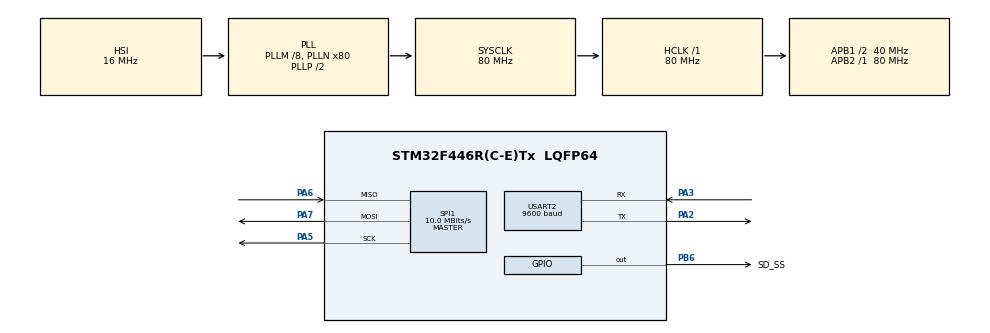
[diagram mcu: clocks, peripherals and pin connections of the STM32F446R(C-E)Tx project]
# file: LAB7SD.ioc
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FATFS._MAX_SS=4096
FATFS._USE_LFN=1
Mcu.Family=STM32F4
Mcu.Name=STM32F446R(C-E)Tx
Mcu.Package=LQFP64
NVIC.PriorityGroup=NVIC_PRIORITYGROUP_4
NVIC.USART2_IRQn=true\:0\:0\:false\:false\:true\:true\:true\:true
PA13.Mode=Serial_Wire
PA13.Signal=SYS_JTMS-SWDIO
PA14.Mode=Serial_Wire
PA14.Signal=SYS_JTCK-SWCLK
PA2.Mode=Asynchronous
PA2.Signal=USART2_TX
PA3.Mode=Asynchronous
PA3.Signal=USART2_RX
PA5.Mode=Full_Duplex_Master
PA5.Signal=SPI1_SCK
PA6.Mode=Full_Duplex_Master
PA6.Signal=SPI1_MISO
PA7.Mode=Full_Duplex_Master
PA7.Signal=SPI1_MOSI
PB6.GPIO_Label=SD_SS
PB6.GPIO_Speed=GPIO_SPEED_FREQ_MEDIUM
PB6.PinState=GPIO_PIN_SET
PB6.Signal=GPIO_Output
PH0-OSC_IN.Mode=HSE-External-Oscillator
PH0-OSC_IN.Signal=RCC_OSC_IN
PH1-OSC_OUT.Mode=HSE-External-Oscillator
PH1-OSC_OUT.Signal=RCC_OSC_OUT
ProjectManager.HeapSize=0x200
ProjectManager.StackSize=0x400
ProjectManager.TargetToolchain=STM32CubeIDE
RCC.AHBFreq_Value=80000000
RCC.APB1CLKDivider=RCC_HCLK_DIV2
RCC.APB1Freq_Value=40000000
RCC.APB1TimFreq_Value=80000000
RCC.APB2Freq_Value=80000000
RCC.APB2TimFreq_Value=80000000
RCC.CortexFreq_Value=80000000
RCC.HCLKFreq_Value=80000000
RCC.HSE_VALUE=25000000
RCC.PLLM=8
RCC.PLLN=80
RCC.SYSCLKFreq_VALUE=80000000
RCC.SYSCLKSource=RCC_SYSCLKSOURCE_PLLCLK
RCC.USBFreq_Value=80000000
RCC.VCOOutputFreq_Value=160000000
SPI1.BaudRatePrescaler=SPI_BAUDRATEPRESCALER_8
SPI1.CalculateBaudRate=10.0 MBits/s
SPI1.Direction=SPI_DIRECTION_2LINES
SPI1.Mode=SPI_MODE_MASTER
SPI1.VirtualType=VM_MASTER
USART2.BaudRate=9600
USART2.VirtualMode=VM_ASYNC
VP_FATFS_VS_Generic.Mode=User_defined
board=custom

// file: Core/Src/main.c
/* USER CODE BEGIN Header */
/**
  ******************************************************************************
  * @file           : main.c
  * @brief          : Main program body
  ******************************************************************************
  * @attention
  *
  * Copyright (c) 2024 STMicroelectronics.
  * All rights reserved.
  *
  * This software is licensed under terms that can be found in the LICENSE file
  * in the root directory of this software component.
  * If no LICENSE file comes with this software, it is provided AS-IS.
  *
  ******************************************************************************
  */
/* USER CODE END Header */
#include "main.h"
#include "fatfs.h"

/* USER CODE BEGIN Includes */
#include "fatfs_sd.h"
#include "string.h"
#include "stdio.h"
/* USER CODE END Includes */

/* USER CODE BEGIN PD */
#define BUF_LEN 2048
/* USER CODE END PD */

SPI_HandleTypeDef hspi1;
UART_HandleTypeDef huart2;

/* USER CODE BEGIN PV */
FATFS fs;
FIL fil;
FRESULT fres;
char buffer[100];
uint8_t leer;
uint8_t data[10];  // Buffer para recibir datos por UART
/* USER CODE END PV */

void SystemClock_Config(void);
static void MX_GPIO_Init(void);
static void MX_SPI1_Init(void);
static void MX_USART2_UART_Init(void);
/* USER CODE BEGIN PFP */
void transmit_uart(char *string);
/* USER CODE END PFP */

int main(void)
{

  /* MCU Configuration--------------------------------------------------------*/

  /* Reset of all peripherals, Initializes the Flash interface and the Systick. */
  HAL_Init();

  /* USER CODE BEGIN Init */
  void transmit_uart(char *string){
    uint8_t len = strlen(string);
    HAL_UART_Transmit(&huart2, (uint8_t*)string, len, 200);
  }
  /* USER CODE END Init */

  /* Configure the system clock */
  SystemClock_Config();

  /* Initialize all configured peripherals */
  MX_GPIO_Init();
  MX_SPI1_Init();
  MX_FATFS_Init();
  MX_USART2_UART_Init();
  /* USER CODE BEGIN 2 */
  HAL_Delay(500);

  HAL_UART_Receive_IT(&huart2, data, 1);

  // Montar la tarjeta SD
  fres = f_mount(&fs, "/", 1);
  if(fres == FR_OK) {
      transmit_uart("Micro SD card is mounted successfully.\n");
  } else {
      transmit_uart("Failed to mount SD card.\n");
  }

  transmit_uart("Seleccione una opción:\n1: Kong\n2: Yoshi\n3: Toad\n");

  while (1) {
    if (data[0] == '1') {
      fres = f_open(&fil, "kong.txt", FA_READ);
      if(fres == FR_OK) {
          transmit_uart("File 'kong.txt' opened for reading.\n");
          leer = 1;
      } else {
          transmit_uart("Failed to open 'kong.txt'.\n");
          leer = 0;
      }
    } else if (data[0] == '2') {
      fres = f_open(&fil, "yoshi.txt", FA_READ);
      if(fres == FR_OK) {
          transmit_uart("File 'yoshi.txt' opened for reading.\n");
          leer = 1;
      } else {
          transmit_uart("Failed to open 'yoshi.txt'.\n");
          leer = 0;
      }
    } else if (data[0] == '3') {
      fres = f_open(&fil, "toad.txt", FA_READ);
      if(fres == FR_OK) {
          transmit_uart("File 'toad.txt' opened for reading.\n");
          leer = 1;
      } else {
          transmit_uart("Failed to open 'toad.txt'.\n");
          leer = 0;
      }
    }

    if (leer == 1) {
      while(f_gets(buffer, sizeof(buffer), &fil)) {
          char mRd[100];
          sprintf(mRd, "%s", buffer);
          transmit_uart(mRd);  // Enviar cada línea por UART
      }
      leer = 0;
      fres = f_close(&fil);
      if(fres == FR_OK) {
          transmit_uart("The file is closed.\n");
      } else {
          transmit_uart("Failed to close the file.\n");
      }

      // Reiniciar el menú
      transmit_uart("Seleccione otra opción:\n1: Kong\n2: Yoshi\n3: Toad\n");
      data[0] = 'd';  // Para que vuelva a esperar la entrada
    }
  }

  /* USER CODE END 2 */

  /* Infinite loop */
  /* USER CODE BEGIN WHILE */
  while (1)
  {
      // Bucle principal para el menú y lectura de archivos
  }
  /* USER CODE END WHILE */

}

void SystemClock_Config(void)
{
  RCC_OscInitTypeDef RCC_OscInitStruct = {0};
  RCC_ClkInitTypeDef RCC_ClkInitStruct = {0};

  /** Configure the main internal regulator output voltage
  */
  __HAL_RCC_PWR_CLK_ENABLE();
  __HAL_PWR_VOLTAGESCALING_CONFIG(PWR_REGULATOR_VOLTAGE_SCALE3);

  /** Initializes the RCC Oscillators according to the specified parameters
  * in the RCC_OscInitTypeDef structure.
  */
  RCC_OscInitStruct.OscillatorType = RCC_OSCILLATORTYPE_HSI;
  RCC_OscInitStruct.HSIState = RCC_HSI_ON;
  RCC_OscInitStruct.HSICalibrationValue = RCC_HSICALIBRATION_DEFAULT;
  RCC_OscInitStruct.PLL.PLLState = RCC_PLL_ON;
  RCC_OscInitStruct.PLL.PLLSource = RCC_PLLSOURCE_HSI;
  RCC_OscInitStruct.PLL.PLLM = 8;
  RCC_OscInitStruct.PLL.PLLN = 80;
  RCC_OscInitStruct.PLL.PLLP = RCC_PLLP_DIV2;
  RCC_OscInitStruct.PLL.PLLQ = 2;
  RCC_OscInitStruct.PLL.PLLR = 2;
  if (HAL_RCC_OscConfig(&RCC_OscInitStruct) != HAL_OK)
  {
    Error_Handler();
  }

  /** Initializes the CPU, AHB and APB buses clocks
  */
  RCC_ClkInitStruct.ClockType = RCC_CLOCKTYPE_HCLK|RCC_CLOCKTYPE_SYSCLK
                              |RCC_CLOCKTYPE_PCLK1|RCC_CLOCKTYPE_PCLK2;
  RCC_ClkInitStruct.SYSCLKSource = RCC_SYSCLKSOURCE_PLLCLK;
  RCC_ClkInitStruct.AHBCLKDivider = RCC_SYSCLK_DIV1;
  RCC_ClkInitStruct.APB1CLKDivider = RCC_HCLK_DIV2;
  RCC_ClkInitStruct.APB2CLKDivider = RCC_HCLK_DIV1;

  if (HAL_RCC_ClockConfig(&RCC_ClkInitStruct, FLASH_LATENCY_2) != HAL_OK)
  {
    Error_Handler();
  }
}

static void MX_SPI1_Init(void)
{
  hspi1.Instance = SPI1;
  hspi1.Init.Mode = SPI_MODE_MASTER;
  hspi1.Init.Direction = SPI_DIRECTION_2LINES;
  hspi1.Init.DataSize = SPI_DATASIZE_8BIT;
  hspi1.Init.CLKPolarity = SPI_POLARITY_LOW;
  hspi1.Init.CLKPhase = SPI_PHASE_1EDGE;
  hspi1.Init.NSS = SPI_NSS_SOFT;
  hspi1.Init.BaudRatePrescaler = SPI_BAUDRATEPRESCALER_8;
  hspi1.Init.FirstBit = SPI_FIRSTBIT_MSB;
  hspi1.Init.TIMode = SPI_TIMODE_DISABLE;
  hspi1.Init.CRCCalculation = SPI_CRCCALCULATION_DISABLE;
  hspi1.Init.CRCPolynomial = 10;
  if (HAL_SPI_Init(&hspi1) != HAL_OK)
  {
    Error_Handler();
  }
}

static void MX_USART2_UART_Init(void)
{
  huart2.Instance = USART2;
  huart2.Init.BaudRate = 9600;
  huart2.Init.WordLength = UART_WORDLENGTH_8B;
  huart2.Init.StopBits = UART_STOPBITS_1;
  huart2.Init.Parity = UART_PARITY_NONE;
  huart2.Init.Mode = UART_MODE_TX_RX;
  huart2.Init.HwFlowCtl = UART_HWCONTROL_NONE;
  huart2.Init.OverSampling = UART_OVERSAMPLING_16;
  if (HAL_UART_Init(&huart2) != HAL_OK)
  {
    Error_Handler();
  }
}

static void MX_GPIO_Init(void)
{
  GPIO_InitTypeDef GPIO_InitStruct = {0};

  /* GPIO Ports Clock Enable */
  __HAL_RCC_GPIOH_CLK_ENABLE();
  __HAL_RCC_GPIOA_CLK_ENABLE();
  __HAL_RCC_GPIOB_CLK_ENABLE();

  /*Configure GPIO pin Output Level */
  HAL_GPIO_WritePin(SD_SS_GPIO_Port, SD_SS_Pin, GPIO_PIN_SET);

  /*Configure GPIO pin : SD_SS_Pin */
  GPIO_InitStruct.Pin = SD_SS_Pin;
  GPIO_InitStruct.Mode = GPIO_MODE_OUTPUT_PP;
  GPIO_InitStruct.Pull = GPIO_NOPULL;
  GPIO_InitStruct.Speed = GPIO_SPEED_FREQ_MEDIUM;
  HAL_GPIO_Init(SD_SS_GPIO_Port, &GPIO_InitStruct);
}

/* USER CODE BEGIN 4 */
void HAL_UART_RxCpltCallback(UART_HandleTypeDef *huart)
{
  HAL_UART_Receive_IT(&huart2, data, 1);  // Reiniciar la recepción de UART
}
/* USER CODE END 4 */

void Error_Handler(void)
{
  __disable_irq();
  while (1)
  {
  }
}
